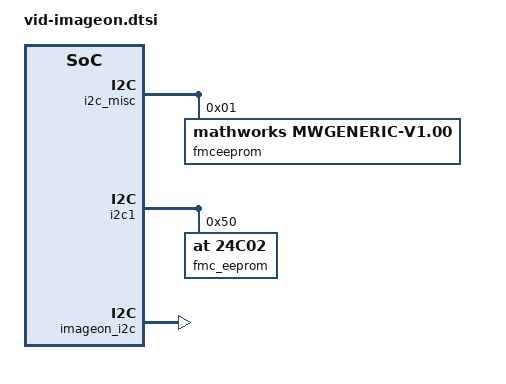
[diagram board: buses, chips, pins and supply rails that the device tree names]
/{
    i2c_misc {
        fmceeprom {
            compatible = "mathworks,mwgeneric-v1.00";
            reg = <0x1>;    
            mwgen,type = "nomem";            
	        mwgen,devname = "fmceeprom";        
            i2c-controller = <&fmc_eeprom>;
            
        }; 
    };
};

&i2c1{
	i2cswitch@75 {
		i2c@0 {
			#address-cells = <1>;
			#size-cells = <0>;
			reg = <0>;
			fmc_eeprom: eeprom@50 {
				compatible = "at,24c02";
				reg = <0x50>;
			};
		};
	};
};

&fpga_axi{   			
	imageon_i2c: i2c@A1600000 {
		compatible = "xlnx,axi-iic-1.02.a", "xlnx,xps-iic-2.00.a";
		interrupt-parent = <&gic>;
		interrupts = <0 96 4>;
		clocks = <&clkc 71>;
		reg = <0xA1600000 0x10000>;
		#address-cells = <1>;
		#size-cells = <0>;

	};
};

#define fmc_adv7511 adv7511
